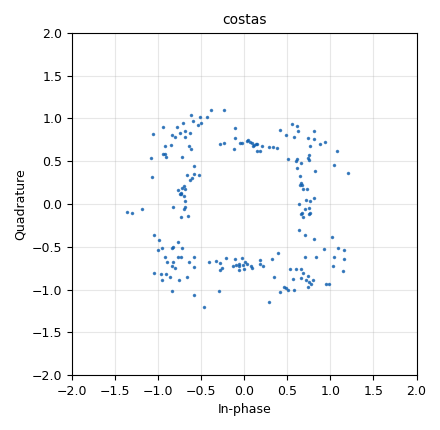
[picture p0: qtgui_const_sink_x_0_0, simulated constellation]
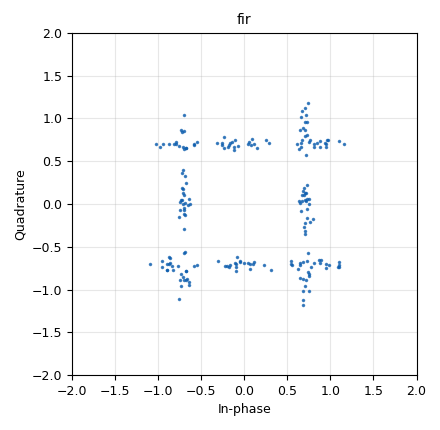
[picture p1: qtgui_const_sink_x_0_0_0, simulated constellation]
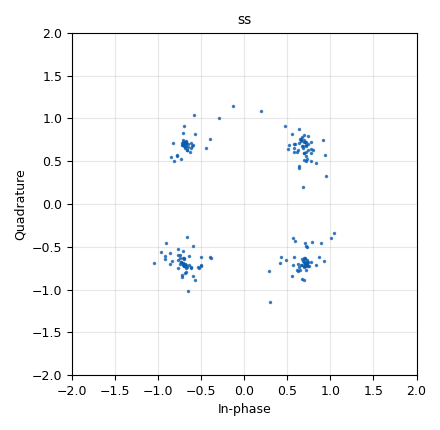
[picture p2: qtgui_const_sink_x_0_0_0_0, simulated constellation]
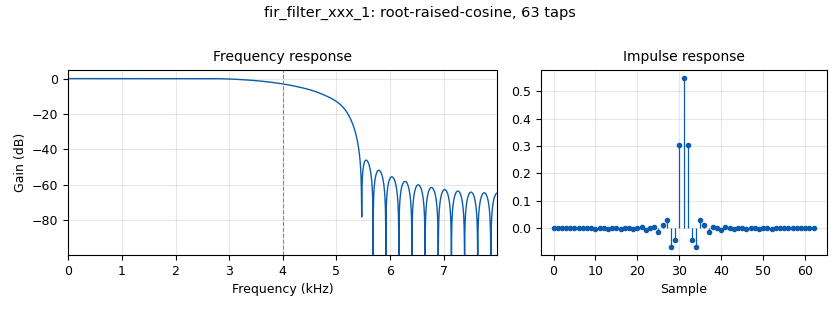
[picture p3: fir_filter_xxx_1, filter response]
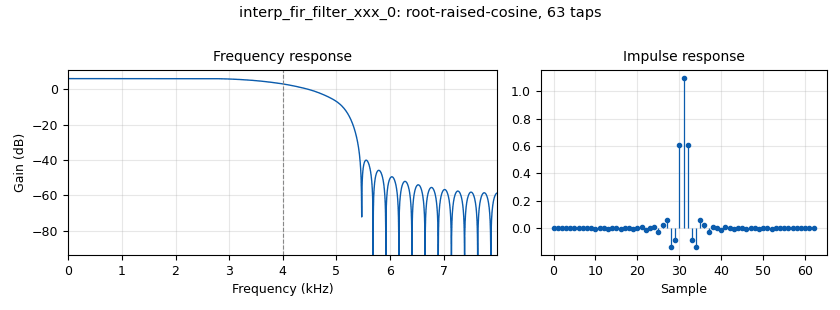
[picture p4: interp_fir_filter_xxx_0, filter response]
options:
  parameters:
    generate_options: qt_gui
    id: untitled
    output_language: python
    title: Not titled yet
  states: {}

blocks:
- name: costas_loop_bw
  id: variable_qtgui_range
  parameters:
    label: costas_loop_bw
    start: '0'
    step: '0.001'
    stop: '1'
    value: '0.05'
  states: {}
- name: freq_drift_hz
  id: variable_qtgui_range
  parameters:
    label: requency Drift (Hz)
    start: '-1000'
    step: '10'
    stop: '1000'
    value: '0'
  states: {}
- name: noise_volt
  id: variable_qtgui_range
  parameters:
    label: Noise voltage
    start: '0'
    step: '0.01'
    stop: '1'
    value: '0'
  states: {}
- name: rrc_taps
  id: variable
  parameters:
    value: '31'
  states: {}
- name: samp_rate
  id: variable
  parameters:
    value: sym_rate * sps
  states: {}
- name: sps
  id: variable
  parameters:
    value: '2'
  states: {}
- name: ss_loop_bw
  id: variable_qtgui_range
  parameters:
    label: ss_loop_bw
    start: '0'
    step: '0.001'
    stop: '1'
    value: '0.02'
  states: {}
- name: sym_rate
  id: variable
  parameters:
    value: '8000'
  states: {}
- name: analog_random_source_x_0
  id: analog_random_source_x
  parameters:
    max: '4'
    min: '0'
    num_samps: '10000000'
    repeat: 'False'
    type: int
  states: {}
- name: blocks_complex_to_float_0
  id: blocks_complex_to_float
  parameters: {}
  states: {}
- name: blocks_complex_to_float_0_0
  id: blocks_complex_to_float
  parameters: {}
  states: {}
- name: blocks_copy_0
  id: blocks_copy
  parameters:
    enabled: 'True'
    type: complex
  states: {state: disabled}
- name: blocks_copy_0_0
  id: blocks_copy
  parameters:
    enabled: 'True'
    type: complex
  states: {state: disabled}
- name: blocks_delay_0
  id: blocks_delay
  parameters:
    delay: sps // 2
    type: float
  states: {}
- name: blocks_delay_0_0
  id: blocks_delay
  parameters:
    delay: '0'
    type: float
  states: {}
- name: blocks_delay_0_0_0
  id: blocks_delay
  parameters:
    delay: sps // 2
    type: float
  states: {}
- name: blocks_float_to_complex_0
  id: blocks_float_to_complex
  parameters: {}
  states: {}
- name: blocks_float_to_complex_0_0
  id: blocks_float_to_complex
  parameters: {}
  states: {}
- name: blocks_throttle2_1
  id: blocks_throttle2
  parameters:
    samples_per_second: samp_rate
    type: complex
  states: {}
- name: channels_channel_model_0
  id: channels_channel_model
  parameters:
    epsilon: '1.0005'
    freq_offset: freq_drift_hz/samp_rate
    noise_voltage: noise_volt
    seed: '42'
    taps: '[1.0+0.0j]'
  states: {}
- name: digital_chunks_to_symbols_xx_0
  id: digital_chunks_to_symbols_xx
  parameters:
    dimension: '1'
    in_type: int
    out_type: complex
    symbol_table: '[(1+1j)/math.sqrt(2), (-1+1j)/math.sqrt(2), (-1-1j)/math.sqrt(2), (1-1j)/math.sqrt(2)]'
  states: {}
- name: digital_costas_loop_cc_0
  id: digital_costas_loop_cc
  parameters:
    order: '4'
    w: costas_loop_bw
  states: {}
- name: digital_symbol_sync_xx_0
  id: digital_symbol_sync_xx
  parameters:
    damping: '0.707'
    loop_bw: ss_loop_bw
    max_dev: '0.5'
    osps: '1'
    resamp_type: digital.IR_MMSE_8TAP
    sps: sps
    ted_gain: '1.0'
    ted_type: digital.TED_MUELLER_AND_MULLER
    type: cc
  states: {}
- name: fir_filter_xxx_1
  id: fir_filter_xxx
  parameters:
    decim: '1'
    taps: firdes.root_raised_cosine(1.0, samp_rate, sym_rate, 0.35, rrc_taps*sps)
    type: ccc
  states: {}
- name: import_0
  id: import
  parameters:
    imports: import math
  states: {}
- name: import_1
  id: import
  parameters:
    imports: from gnuradio.filter import firdes
  states: {}
- name: interp_fir_filter_xxx_0
  id: interp_fir_filter_xxx
  parameters:
    interp: sps
    taps: |
      firdes.root_raised_cosine(sps, samp_rate, sym_rate, 0.35, rrc_taps*sps)
    type: ccc
  states: {}
- name: qtgui_const_sink_x_0_0
  id: qtgui_const_sink_x
  parameters:
    gui_hint: 0,1,1,1
    name: costas
    size: '200'
    type: complex
  states: {}
- name: qtgui_const_sink_x_0_0_0
  id: qtgui_const_sink_x
  parameters:
    gui_hint: 0,0,1,1
    name: fir
    size: '200'
    type: complex
  states: {}
- name: qtgui_const_sink_x_0_0_0_0
  id: qtgui_const_sink_x
  parameters:
    gui_hint: 0,2, 1,1
    name: ss
    size: '200'
    type: complex
  states: {}
- name: virtual_sink_0
  id: virtual_sink
  parameters:
    stream_id: tx
  states: {}
- name: virtual_sink_0_0
  id: virtual_sink
  parameters:
    stream_id: tx_with_noise
  states: {}
- name: virtual_source_0
  id: virtual_source
  parameters:
    stream_id: tx_with_noise
  states: {}
- name: virtual_source_0_0
  id: virtual_source
  parameters:
    stream_id: tx
  states: {}

connections:
- [analog_random_source_x_0, '0', digital_chunks_to_symbols_xx_0, '0']
- [blocks_complex_to_float_0, '0', blocks_delay_0, '0']
- [blocks_complex_to_float_0, '1', blocks_float_to_complex_0, '1']
- [blocks_complex_to_float_0_0, '0', blocks_delay_0_0, '0']
- [blocks_complex_to_float_0_0, '1', blocks_delay_0_0_0, '0']
- [blocks_copy_0, '0', blocks_throttle2_1, '0']
- [blocks_copy_0_0, '0', digital_symbol_sync_xx_0, '0']
- [blocks_delay_0, '0', blocks_float_to_complex_0, '0']
- [blocks_delay_0_0, '0', blocks_float_to_complex_0_0, '0']
- [blocks_delay_0_0_0, '0', blocks_float_to_complex_0_0, '1']
- [blocks_float_to_complex_0, '0', blocks_throttle2_1, '0']
- [blocks_float_to_complex_0_0, '0', digital_symbol_sync_xx_0, '0']
- [blocks_throttle2_1, '0', virtual_sink_0, '0']
- [channels_channel_model_0, '0', virtual_sink_0_0, '0']
- [digital_chunks_to_symbols_xx_0, '0', interp_fir_filter_xxx_0, '0']
- [digital_costas_loop_cc_0, '0', blocks_complex_to_float_0_0, '0']
- [digital_costas_loop_cc_0, '0', blocks_copy_0_0, '0']
- [digital_costas_loop_cc_0, '0', qtgui_const_sink_x_0_0, '0']
- [digital_symbol_sync_xx_0, '0', qtgui_const_sink_x_0_0_0_0, '0']
- [fir_filter_xxx_1, '0', digital_costas_loop_cc_0, '0']
- [fir_filter_xxx_1, '0', qtgui_const_sink_x_0_0_0, '0']
- [interp_fir_filter_xxx_0, '0', blocks_complex_to_float_0, '0']
- [interp_fir_filter_xxx_0, '0', blocks_copy_0, '0']
- [virtual_source_0, '0', fir_filter_xxx_1, '0']
- [virtual_source_0_0, '0', channels_channel_model_0, '0']

metadata:
  file_format: 1
  grc_version: 3.10.12.0
